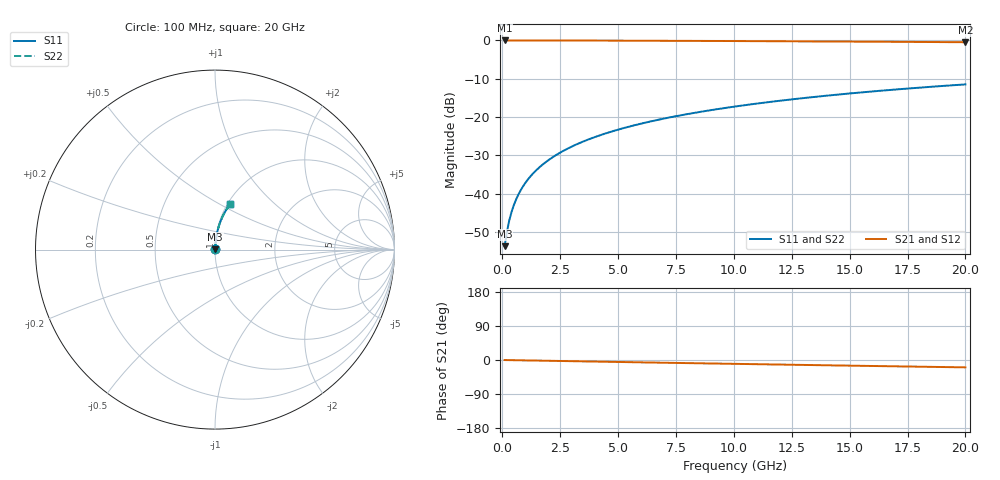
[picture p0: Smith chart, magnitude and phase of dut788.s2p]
! Touchstone file exported from HFSS 2024.1.0
!  File:  C:/UserFiles/LocalFiles/RDL_TSV_Batchsim/temp_RDL_bottom_788_1779861397.aedt
!  Generated:  01:59:04 PM May 27, 2026
!  Design:  RDL_bottom
!  Project:  temp_RDL_bottom_788_1779861397
!  Setup:  Setup1
!  Solution:  Sweep
! Variables:
!  dtsv = 10.80580581um
!  hbump = 3um
!  htsv = 92.5um
!  ldown = 189.95um
!  lrdl = 100um
!  p = 40
!  p1 = 57.02um
!  rhole = 1um
!  t = 450um
!  tdown = 4.65um
!  trdl = 3.915915916um
!  wdown = 10.16um
!  wrdl = 20um
# GHz S MA R 50.000000
! Terminal data exported
! Port[1] = RDL1_T1
! Port[2] = RDL1_T2
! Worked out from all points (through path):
!   200 points, 100 MHz to 20 GHz, reference 50 ohm
!   highest |S21| = -0.01 dB at 100 MHz (marker M1); lowest = -0.5 dB at 20 GHz (marker M2)
!   group delay of S21, straight-line fit = 2.69 ps
!   lowest |S11| = -53.7 dB at 100 MHz (marker M3), VSWR 1.00, Z = 50.2 + j0.14 ohm
!   |S11| at or under -10 dB: start of sweep to end of sweep
!   |S22| runs from -53.7 to -11.5 dB; largest |S21 - S12| = 4.2e-15
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0.1  0.002067 42.6  0.9985 -0.1  0.9985 -0.1  0.002067 42.6
! Gamma 0 0 0 0
! Port Impedance 50 0 50 0
0.2  0.003191 61.1  0.9985 -0.2  0.9985 -0.2  0.003191 61.1
0.3  0.004465 69.4  0.9984 -0.3  0.9984 -0.3  0.004465 69.4
0.4  0.005783 73.9  0.9984 -0.4  0.9984 -0.4  0.005783 73.9
0.5  0.00712 76.6  0.9983 -0.5  0.9983 -0.5  0.00712 76.6
0.6  0.008464 78.5  0.9983 -0.6  0.9983 -0.6  0.008464 78.5
0.8  0.01117 80.9  0.9982 -0.9  0.9982 -0.9  0.01117 80.9
1.1  0.01524 82.8  0.9981 -1.2  0.9981 -1.2  0.01524 82.8
1.5  0.0207 84.1  0.9978 -1.6  0.9978 -1.6  0.0207 84.1
1.8  0.02479 84.6  0.9976 -1.9  0.9976 -1.9  0.02479 84.6
2.1  0.02889 84.8  0.9973 -2.2  0.9973 -2.2  0.02889 84.8
2.7  0.03709 85.0  0.9967 -2.9  0.9967 -2.9  0.03709 85.0
3.5  0.04803 84.9  0.9956 -3.7  0.9956 -3.7  0.04803 84.9
4.2  0.05759 84.6  0.9945 -4.4  0.9945 -4.4  0.05759 84.6
5  0.06852 84.2  0.9931 -5.2  0.9931 -5.2  0.06852 84.2
5.9  0.0808 83.6  0.9913 -6.1  0.9913 -6.1  0.0808 83.6
6.8  0.09307 83.0  0.9893 -7.0  0.9893 -7.0  0.09307 83.0
8.3  0.1135 81.9  0.9856 -8.5  0.9856 -8.5  0.1135 81.9
10.1  0.1379 80.4  0.9807 -10.3  0.9807 -10.3  0.1379 80.4
13.4  0.1821 77.5  0.9707 -13.4  0.9707 -13.4  0.1821 77.5
16.7  0.2252 74.6  0.9594 -16.5  0.9594 -16.5  0.2251 74.6
20  0.2667 71.6  0.9469 -19.5  0.9469 -19.5  0.2667 71.6
